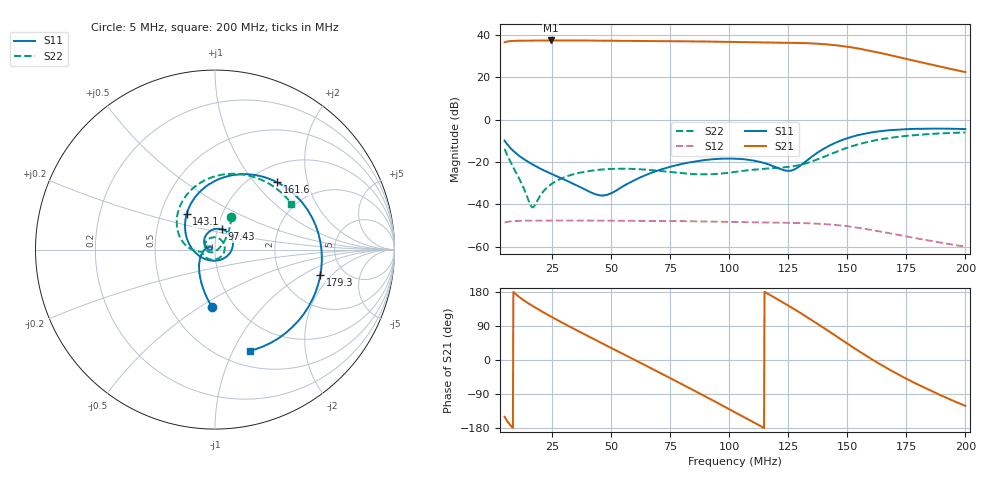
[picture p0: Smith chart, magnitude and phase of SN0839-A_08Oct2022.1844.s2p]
# Hz S DB R 50
! CMT, M5045, 22160017, 22.3.3/2
! Date: 10/8/2022 18:44:27
! Data: Format (Calibration Info)
! Freq	S11:dB/Ang(F2)	S21:dB/Ang(F2)	S12:dB/Ang(F2)	S22:dB/Ang(F2)
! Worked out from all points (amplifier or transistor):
!   1001 points, 5 MHz to 200 MHz, reference 50 ohm
!   highest |S21| = 37.2 dB at 24.5 MHz (marker M1)
!   |S21| within 3 dB of that: start of sweep to 150.3 MHz
!   unconditionally stable (mu >= 1): start of sweep to end of sweep
!   at 37.37 MHz: K = 1.80, MAG = 37.2 dB, |S12| = -47.6 dB
!   at 102.5 MHz: K = 2.03, MAG = 36.6 dB, |S12| = -48.2 dB
!   at 200 MHz: K = 18.02, MAG = 25.4 dB, |S12| = -59.6 dB
!   S11 on the Smith chart (normalised r, x): 5 MHz: 0.79, -0.56; 97.43 MHz: 1.05, +0.24; 143.1 MHz: 0.68, +0.29; 161.6 MHz: 1.30, +1.32; 179.3 MHz: 3.33, -1.49; 200 MHz: 0.67, -1.17
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5000000  -9.91 -92.9  36.39 -149.8  -48.53 -146.9  -13.86 63.3
7925000  -13.95 -112.2  36.97 -175.4  -47.89 -172.6  -20.92 46.6
1.163e7  -17.46 -131.5  37.13 164.2  -47.66 167.0  -28.88 28.3
1.787e7  -21.80 -159.6  37.20 138.6  -47.60 141.3  -40.19 -91.0
2.45e7  -25.42 176.0  37.23 115.0  -47.57 118.4  -30.61 -149.8
3.7565e7  -32.12 145.9  37.20 71.9  -47.58 77.0  -24.88 167.1
5.453e7  -31.83 -176.7  37.10 17.8  -47.63 25.1  -23.14 111.5
6.233e7  -27.29 173.6  37.05 -7.1  -47.67 1.4  -23.42 83.2
7.013e7  -23.92 155.4  36.97 -32.0  -47.72 -22.5  -24.12 52.1
8.417e7  -20.01 115.1  36.81 -77.3  -47.90 -66.0  -25.63 -14.9
9.743e7  -18.43 72.0  36.61 -120.8  -48.13 -107.8  -25.37 -83.3
1.025e8  -18.45 54.2  36.52 -137.6  -48.24 -123.9  -24.62 -106.1
1.10885e8  -19.42 20.9  36.40 -165.9  -48.38 -151.1  -23.57 -138.0
1.1849e8  -21.87 -20.6  36.31 167.5  -48.50 -176.8  -22.92 -158.7
1.2629e8  -24.03 -99.3  36.17 139.0  -48.63 155.6  -22.13 -170.1
1.35065e8  -17.44 174.4  35.84 105.0  -48.90 122.5  -19.73 -175.4
1.4306e8  -11.96 128.8  35.21 72.3  -49.44 90.6  -16.20 174.0
1.5203e8  -8.10 86.8  33.94 35.2  -50.54 54.1  -12.55 152.4
1.61585e8  -5.84 47.3  31.93 -2.5  -52.26 17.0  -9.85 125.1
1.6763e8  -5.07 24.9  30.44 -24.6  -53.49 -4.7  -8.70 108.1
1.7933e8  -4.38 -13.6  27.42 -63.1  -55.93 -42.5  -7.28 77.5
2e8  -4.49 -70.8  22.35 -121.1  -59.62 -94.4  -6.08 31.0
